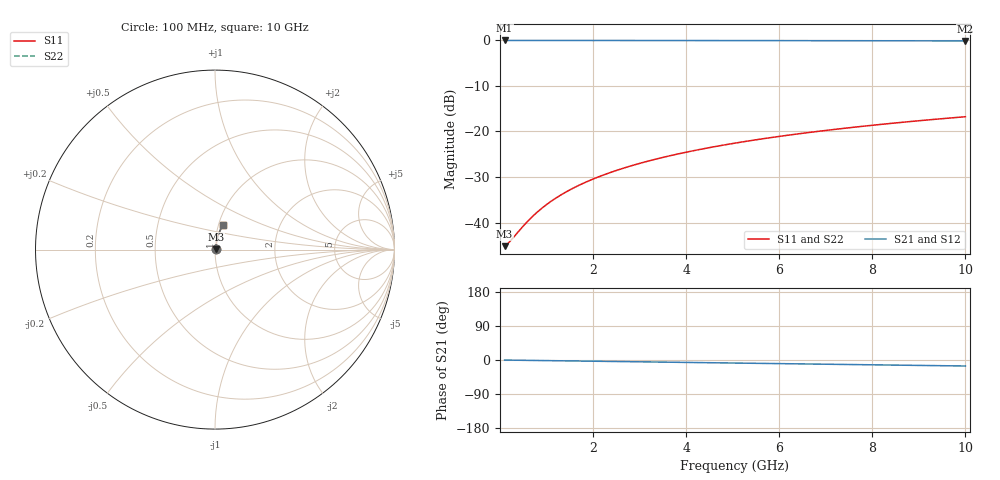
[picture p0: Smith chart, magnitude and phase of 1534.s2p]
# Hz S RI R 50.00
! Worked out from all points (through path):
!   100 points, 100 MHz to 10 GHz, reference 50 ohm
!   highest |S21| = -0.05 dB at 100 MHz (marker M1); lowest = -0.1 dB at 10 GHz (marker M2)
!   group delay of S21, straight-line fit = 4.4 ps
!   lowest |S11| = -45.2 dB at 100 MHz (marker M3), VSWR 1.01, Z = 50.5 + j0.148 ohm
!   |S11| at or under -10 dB: start of sweep to end of sweep
!   |S22| runs from -45.2 to -16.8 dB; largest |S21 - S12| = 0
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1e8  0.0053 0.00146  0.9947 -0.00277  0.9947 -0.00277  0.0053 0.00146
2e8  0.00535 0.00292  0.9946 -0.00553  0.9946 -0.00553  0.00535 0.00292
5e8  0.0055 0.0073  0.9945 -0.0138  0.9945 -0.0138  0.0055 0.0073
6e8  0.00556 0.00875  0.9944 -0.0166  0.9944 -0.0166  0.00556 0.00875
7e8  0.00562 0.0102  0.9943 -0.0194  0.9943 -0.0194  0.00562 0.0102
9e8  0.00578 0.0131  0.9941 -0.0249  0.9941 -0.0249  0.00578 0.0131
1.1e9  0.00596 0.016  0.9939 -0.0304  0.9939 -0.0304  0.00596 0.016
1.3e9  0.00617 0.0189  0.9937 -0.0359  0.9937 -0.0359  0.00617 0.0189
1.5e9  0.00642 0.0219  0.9934 -0.0414  0.9934 -0.0414  0.00642 0.0219
1.8e9  0.00684 0.0262  0.9929 -0.0497  0.9929 -0.0497  0.00684 0.0262
2.1e9  0.00734 0.0306  0.9923 -0.058  0.9923 -0.058  0.00734 0.0306
2.5e9  0.0081 0.0363  0.9913 -0.069  0.9913 -0.069  0.0081 0.0363
2.9e9  0.009 0.0421  0.9902 -0.08  0.9902 -0.08  0.009 0.0421
3.4e9  0.0103 0.0493  0.9887 -0.0937  0.9887 -0.0937  0.0103 0.0493
3.8e9  0.0115 0.055  0.9872 -0.1046  0.9872 -0.1046  0.0115 0.055
4.2e9  0.0128 0.0606  0.9857 -0.1155  0.9857 -0.1155  0.0128 0.0606
5.1e9  0.0162 0.0733  0.9815 -0.1399  0.9815 -0.1399  0.0162 0.0733
5.9e9  0.0197 0.0843  0.9773 -0.1614  0.9773 -0.1614  0.0197 0.0843
6.7e9  0.0237 0.0952  0.9724 -0.1828  0.9724 -0.1828  0.0237 0.0952
7.5e9  0.0282 0.1058  0.9669 -0.204  0.9669 -0.204  0.0282 0.1058
8.4e9  0.0338 0.1176  0.9601 -0.2275  0.9601 -0.2275  0.0338 0.1176
1e10  0.045 0.1376  0.9462 -0.2685  0.9462 -0.2685  0.045 0.1376
